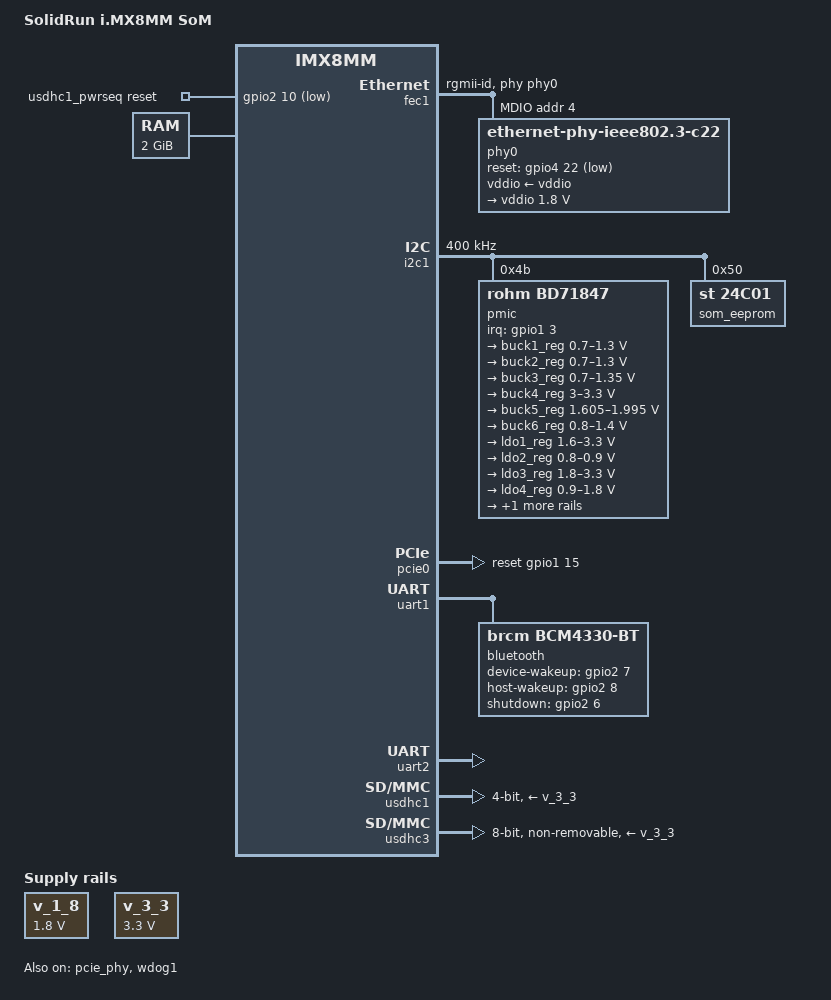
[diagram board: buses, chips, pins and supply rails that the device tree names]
// SPDX-License-Identifier: (GPL-2.0+ OR MIT)
/*
 * Copyright 2025 Josua Mayer <josua@solid-run.com>
 */

#include <dt-bindings/phy/phy-imx8-pcie.h>

#include "imx8mm.dtsi"

/ {
	compatible = "solidrun,imx8mm-sr-som", "fsl,imx8mm";
	model = "SolidRun i.MX8MM SoM";

	chosen {
		bootargs = "earlycon=ec_imx6q,0x30890000,115200";
		stdout-path = &uart2;
	};

	v_1_8: regulator-1-8 {
		compatible = "regulator-fixed";
		regulator-name = "1v8";
		regulator-max-microvolt = <1800000>;
		regulator-min-microvolt = <1800000>;
	};

	v_3_3: regulator-3-3 {
		compatible = "regulator-fixed";
		regulator-name = "3v3";
		regulator-max-microvolt = <3300000>;
		regulator-min-microvolt = <3300000>;
	};

	usdhc1_pwrseq: usdhc1-pwrseq {
		compatible = "mmc-pwrseq-simple";
		reset-gpios = <&gpio2 10 GPIO_ACTIVE_LOW>;
	};

	memory@40000000 {
		reg = <0x0 0x40000000 0 0x80000000>;
		device_type = "memory";
	};
};

&fec1 {
	phy = <&phy0>;
	phy-mode = "rgmii-id";
	pinctrl-0 = <&fec1_pins>;
	pinctrl-names = "default";
	status = "okay";

	mdio {
		#address-cells = <1>;
		#size-cells = <0>;

		phy0: ethernet-phy@4 {
			compatible = "ethernet-phy-ieee802.3-c22";
			reg = <0x4>;
			phy-reset-duration = <10>;
			reset-gpios = <&gpio4 22 GPIO_ACTIVE_LOW>;
			vddio-supply = <&vddio>;
			qca,smarteee-tw-us-1g = <24>;

			vddio: vddio-regulator {
				regulator-max-microvolt = <1800000>;
				regulator-min-microvolt = <1800000>;
			};
		};
	};
};

&i2c1 {
	clock-frequency = <400000>;
	pinctrl-0 = <&i2c1_pins>;
	pinctrl-names = "default";
	status = "okay";

	pmic@4b {
		compatible = "rohm,bd71847";
		reg = <0x4b>;
		interrupt-parent = <&gpio1>;
		interrupts = <3 IRQ_TYPE_LEVEL_LOW>;
		clocks = <&osc_32k>;
		#clock-cells = <0>;
		clock-output-names = "clk-32k-out";
		pinctrl-0 = <&pmic_pins>;
		pinctrl-names = "default";
		rohm,reset-snvs-powered;

		regulators {
			buck1_reg: BUCK1 {
				regulator-name = "buck1";
				regulator-always-on;
				regulator-boot-on;
				regulator-max-microvolt = <1300000>;
				regulator-min-microvolt = <700000>;
				regulator-ramp-delay = <1250>;
			};

			buck2_reg: BUCK2 {
				regulator-name = "buck2";
				regulator-always-on;
				regulator-boot-on;
				regulator-max-microvolt = <1300000>;
				regulator-min-microvolt = <700000>;
				regulator-ramp-delay = <1250>;
				rohm,dvs-idle-voltage = <900000>;
				rohm,dvs-run-voltage = <1000000>;
			};

			buck3_reg: BUCK3 {
				// BUCK5 in datasheet
				regulator-name = "buck3";
				regulator-always-on;
				regulator-boot-on;
				regulator-max-microvolt = <1350000>;
				regulator-min-microvolt = <700000>;
			};

			buck4_reg: BUCK4 {
				// BUCK6 in datasheet
				regulator-name = "buck4";
				regulator-always-on;
				regulator-boot-on;
				regulator-max-microvolt = <3300000>;
				regulator-min-microvolt = <3000000>;
			};

			buck5_reg: BUCK5 {
				// BUCK7 in datasheet
				regulator-name = "buck5";
				regulator-always-on;
				regulator-boot-on;
				regulator-max-microvolt = <1995000>;
				regulator-min-microvolt = <1605000>;
			};

			buck6_reg: BUCK6 {
				// BUCK8 in datasheet
				regulator-name = "buck6";
				regulator-always-on;
				regulator-boot-on;
				regulator-max-microvolt = <1400000>;
				regulator-min-microvolt = <800000>;
			};

			ldo1_reg: LDO1 {
				regulator-name = "ldo1";
				regulator-always-on;
				regulator-boot-on;
				regulator-max-microvolt = <3300000>;
				regulator-min-microvolt = <1600000>;
			};

			ldo2_reg: LDO2 {
				regulator-name = "ldo2";
				regulator-always-on;
				regulator-boot-on;
				regulator-max-microvolt = <900000>;
				regulator-min-microvolt = <800000>;
			};

			ldo3_reg: LDO3 {
				regulator-name = "ldo3";
				regulator-always-on;
				regulator-boot-on;
				regulator-max-microvolt = <3300000>;
				regulator-min-microvolt = <1800000>;
			};

			ldo4_reg: LDO4 {
				regulator-name = "ldo4";
				regulator-always-on;
				regulator-boot-on;
				regulator-max-microvolt = <1800000>;
				regulator-min-microvolt = <900000>;
			};

			ldo6_reg: LDO6 {
				regulator-name = "ldo6";
				regulator-always-on;
				regulator-boot-on;
				regulator-max-microvolt = <1800000>;
				regulator-min-microvolt = <900000>;
			};
		};
	};

	som_eeprom: eeprom@50 {
		compatible = "st,24c01", "atmel,24c01";
		reg = <0x50>;
		pagesize = <16>;
	};
};

&iomuxc {
	fec1_pins: pinctrl-fec1-grp {
		fsl,pins = <
			MX8MM_IOMUXC_ENET_MDC_ENET1_MDC			0x3
			MX8MM_IOMUXC_ENET_MDIO_ENET1_MDIO		0x3
			MX8MM_IOMUXC_ENET_TD3_ENET1_RGMII_TD3		0x1f
			MX8MM_IOMUXC_ENET_TD2_ENET1_RGMII_TD2		0x1f
			MX8MM_IOMUXC_ENET_TD1_ENET1_RGMII_TD1		0x1f
			MX8MM_IOMUXC_ENET_TD0_ENET1_RGMII_TD0		0x1f
			MX8MM_IOMUXC_ENET_RD3_ENET1_RGMII_RD3		0x91
			MX8MM_IOMUXC_ENET_RD2_ENET1_RGMII_RD2		0x91
			MX8MM_IOMUXC_ENET_RD1_ENET1_RGMII_RD1		0x91
			MX8MM_IOMUXC_ENET_RD0_ENET1_RGMII_RD0		0x91
			MX8MM_IOMUXC_ENET_TXC_ENET1_RGMII_TXC		0x1f
			MX8MM_IOMUXC_ENET_RXC_ENET1_RGMII_RXC		0x91
			MX8MM_IOMUXC_ENET_RX_CTL_ENET1_RGMII_RX_CTL	0x91
			MX8MM_IOMUXC_ENET_TX_CTL_ENET1_RGMII_TX_CTL	0x1f
			MX8MM_IOMUXC_SAI2_RXC_GPIO4_IO22		0x19
		>;
	};

	i2c1_pins: pinctrl-i2c1-grp {
		fsl,pins = <
			MX8MM_IOMUXC_I2C1_SCL_I2C1_SCL			0x400001c3
			MX8MM_IOMUXC_I2C1_SDA_I2C1_SDA			0x400001c3
		>;
	};

	pcie_pins: pinctrl-pcie-grp {
		fsl,pins = <
			MX8MM_IOMUXC_GPIO1_IO15_GPIO1_IO15		0x0
		>;
	};

	pmic_pins: pinctrl-pmic-grp {
		fsl,pins = <
			MX8MM_IOMUXC_GPIO1_IO03_GPIO1_IO3		0x140
		>;
	};

	uart1_pins: pinctrl-uart1-grp {
		fsl,pins = <
			MX8MM_IOMUXC_UART1_RXD_UART1_DCE_RX	0x140
			MX8MM_IOMUXC_UART1_TXD_UART1_DCE_TX	0x140
			MX8MM_IOMUXC_UART3_RXD_UART1_DCE_CTS_B	0x140
			MX8MM_IOMUXC_UART3_TXD_UART1_DCE_RTS_B	0x140
			/* BT_REG_ON */
			MX8MM_IOMUXC_SD1_DATA4_GPIO2_IO6	0x0
			/* BT_WAKE_DEV */
			MX8MM_IOMUXC_SD1_DATA5_GPIO2_IO7	0x0
			/* BT_WAKE_HOST */
			MX8MM_IOMUXC_SD1_DATA6_GPIO2_IO8	0x100
		>;
	};

	uart2_pins: pinctrl-uart2-grp {
		fsl,pins = <
			MX8MM_IOMUXC_UART2_RXD_UART2_DCE_RX		0x140
			MX8MM_IOMUXC_UART2_TXD_UART2_DCE_TX		0x140
		>;
	};

	usdhc1_pins: pinctrl-usdhc1-grp {
		fsl,pins = <
			MX8MM_IOMUXC_SD1_CLK_USDHC1_CLK			0x190
			MX8MM_IOMUXC_SD1_CMD_USDHC1_CMD			0x1d0
			MX8MM_IOMUXC_SD1_DATA0_USDHC1_DATA0		0x1d0
			MX8MM_IOMUXC_SD1_DATA1_USDHC1_DATA1		0x1d0
			MX8MM_IOMUXC_SD1_DATA2_USDHC1_DATA2		0x1d0
			MX8MM_IOMUXC_SD1_DATA3_USDHC1_DATA3		0x1d0
			/* wifi refclk */
			MX8MM_IOMUXC_GPIO1_IO00_ANAMIX_REF_CLK_32K	0x0
			/* WL_REG_ON */
			MX8MM_IOMUXC_SD1_RESET_B_GPIO2_IO10		0x0
			/* WL_WAKE_HOST */
			MX8MM_IOMUXC_SD1_DATA7_GPIO2_IO9		0x100
		>;
	};

	usdhc3_100mhz_pins: pinctrl-usdhc3-100mhz-grp {
		fsl,pins = <
			MX8MM_IOMUXC_NAND_WE_B_USDHC3_CLK		0x194
			MX8MM_IOMUXC_NAND_WP_B_USDHC3_CMD		0x1d4
			MX8MM_IOMUXC_NAND_DATA04_USDHC3_DATA0		0x1d4
			MX8MM_IOMUXC_NAND_DATA05_USDHC3_DATA1		0x1d4
			MX8MM_IOMUXC_NAND_DATA06_USDHC3_DATA2		0x1d4
			MX8MM_IOMUXC_NAND_DATA07_USDHC3_DATA3		0x1d4
			MX8MM_IOMUXC_NAND_RE_B_USDHC3_DATA4		0x1d4
			MX8MM_IOMUXC_NAND_CE2_B_USDHC3_DATA5		0x1d4
			MX8MM_IOMUXC_NAND_CE3_B_USDHC3_DATA6		0x1d4
			MX8MM_IOMUXC_NAND_CLE_USDHC3_DATA7		0x1d4
			MX8MM_IOMUXC_NAND_CE1_B_USDHC3_STROBE		0x194
		>;
	};

	usdhc3_200mhz_pins: pinctrl-usdhc3-200mhz-grp {
		fsl,pins = <
			MX8MM_IOMUXC_NAND_WE_B_USDHC3_CLK		0x196
			MX8MM_IOMUXC_NAND_WP_B_USDHC3_CMD		0x1d6
			MX8MM_IOMUXC_NAND_DATA04_USDHC3_DATA0		0x1d6
			MX8MM_IOMUXC_NAND_DATA05_USDHC3_DATA1		0x1d6
			MX8MM_IOMUXC_NAND_DATA06_USDHC3_DATA2		0x1d6
			MX8MM_IOMUXC_NAND_DATA07_USDHC3_DATA3		0x1d6
			MX8MM_IOMUXC_NAND_RE_B_USDHC3_DATA4		0x1d6
			MX8MM_IOMUXC_NAND_CE2_B_USDHC3_DATA5		0x1d6
			MX8MM_IOMUXC_NAND_CE3_B_USDHC3_DATA6		0x1d6
			MX8MM_IOMUXC_NAND_CLE_USDHC3_DATA7		0x1d6
			MX8MM_IOMUXC_NAND_CE1_B_USDHC3_STROBE		0x196
		>;
	};

	usdhc3_pins: pinctrl-usdhc3-grp {
		fsl,pins = <
			MX8MM_IOMUXC_NAND_WE_B_USDHC3_CLK		0x190
			MX8MM_IOMUXC_NAND_WP_B_USDHC3_CMD		0x1d0
			MX8MM_IOMUXC_NAND_DATA04_USDHC3_DATA0		0x1d0
			MX8MM_IOMUXC_NAND_DATA05_USDHC3_DATA1		0x1d0
			MX8MM_IOMUXC_NAND_DATA06_USDHC3_DATA2		0x1d0
			MX8MM_IOMUXC_NAND_DATA07_USDHC3_DATA3		0x1d0
			MX8MM_IOMUXC_NAND_RE_B_USDHC3_DATA4		0x1d0
			MX8MM_IOMUXC_NAND_CE2_B_USDHC3_DATA5		0x1d0
			MX8MM_IOMUXC_NAND_CE3_B_USDHC3_DATA6		0x1d0
			MX8MM_IOMUXC_NAND_CLE_USDHC3_DATA7		0x1d0
			MX8MM_IOMUXC_NAND_CE1_B_USDHC3_STROBE		0x190
		>;
	};

	wdog1_pins: pinctrl-wdog1-grp {
		fsl,pins = <
			MX8MM_IOMUXC_GPIO1_IO02_WDOG1_WDOG_B	0x140
		>;
	};
};

/* assembly-option for AI accelerator on SoM, otherwise routed to carrier */
&pcie0 {
	pinctrl-0 = <&pcie_pins>;
	pinctrl-names = "default";
	reset-gpios = <&gpio1 15 (GPIO_ACTIVE_HIGH|GPIO_OPEN_DRAIN)>;
	status = "okay";
};

&pcie_phy {
	fsl,clkreq-unsupported;
	fsl,refclk-pad-mode = <IMX8_PCIE_REFCLK_PAD_OUTPUT>;
	status = "okay";
};

&uart1 {
	/* select 80MHz parent clock to support maximum baudrate 4Mbps */
	assigned-clock-parents = <&clk IMX8MM_SYS_PLL1_80M>;
	assigned-clocks = <&clk IMX8MM_CLK_UART1>;
	pinctrl-0 = <&uart1_pins>;
	pinctrl-names = "default";
	uart-has-rtscts;
	status = "okay";

	bluetooth {
		compatible = "brcm,bcm4330-bt";
		device-wakeup-gpios = <&gpio2 7 GPIO_ACTIVE_HIGH>;
		host-wakeup-gpios = <&gpio2 8 GPIO_ACTIVE_HIGH>;
		max-speed = <3000000>;
		shutdown-gpios = <&gpio2 6 GPIO_ACTIVE_HIGH>;
	};
};

&uart2 {
	pinctrl-0 = <&uart2_pins>;
	pinctrl-names = "default";
	status = "okay";
};

&usdhc1 {
	bus-width = <4>;
	mmc-pwrseq = <&usdhc1_pwrseq>;
	pinctrl-0 = <&usdhc1_pins>;
	pinctrl-names = "default";
	vmmc-supply = <&v_3_3>;
	vqmmc-supply = <&v_1_8>;
	status = "okay";
};

&usdhc3 {
	bus-width = <8>;
	non-removable;
	pinctrl-0 = <&usdhc3_pins>;
	pinctrl-1 = <&usdhc3_100mhz_pins>;
	pinctrl-2 = <&usdhc3_200mhz_pins>;
	pinctrl-names = "default", "state_100mhz", "state_200mhz";
	vmmc-supply = <&v_3_3>;
	vqmmc-supply = <&v_1_8>;
	status = "okay";
};

&wdog1 {
	pinctrl-0 = <&wdog1_pins>;
	pinctrl-names = "default";
	status = "okay";
};
